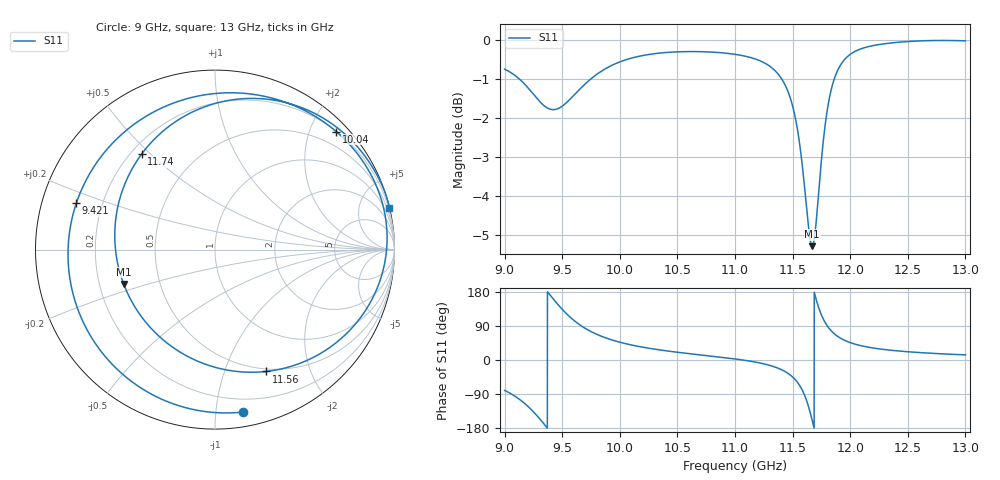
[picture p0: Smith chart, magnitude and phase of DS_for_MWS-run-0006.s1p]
! TOUCHSTONE file generated by CST DESIGN STUDIO
! Date and time: Tue Feb  4 16:41:38 2025
! Project name: C:\Work\MatlabApps\UnitCellOptimizationMatlab\CST\unitcell.cst
! Tree item: Tasks\Sweep1\SPara1\S-Parameters
! Header version: 2024
! Port assignment regex: !\s*Touchstone port\s*([0-9]+)\s*=\s*(CST MWS port|CST DES external port|CST DES block port)\s*(.+)\s* \(\"(.*)\"\)(\s*mode\s*([0-9]+))?.*
! Touchstone port assignment:
! Touchstone port 1 = CST DES external port 1 ("")
# GHz S MA R 50
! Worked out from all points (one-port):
!   4001 points, 9 GHz to 13 GHz, reference 50 ohm
!   lowest |S11| = -5.3 dB at 11.67 GHz (marker M1), VSWR 3.38, Z = 15.2 - j8.31 ohm
!   |S11| at or under -10 dB: nowhere
!   S11 on the Smith chart (normalised r, x): 9 GHz: 0.10, -1.18; 9.421 GHz: 0.10, +0.16; 10.04 GHz: 0.21, +2.45; 11.56 GHz: 0.47, -1.40; 11.74 GHz: 0.24, +0.47; 13 GHz: 0.04, +8.42
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9  0.9185 -80.2
9.118  0.8948 -101.4
9.211  0.8664 -124.8
9.325  0.8287 -162.5
9.421  0.8147 161.5
9.5  0.8232 133.7
9.582  0.8444 109.5
9.677  0.8728 87.8
9.826  0.9101 64.4
10  0.9385 46.9
10.035  0.9426 44.2
10.5  0.9669 20.4
11  0.9598 2.8
11.335  0.9182 -17.3
11.429  0.88 -29.5
11.5  0.8236 -44.9
11.561  0.7365 -67.2
11.618  0.6152 -104.0
11.67  0.5438 -159.3
11.703  0.5806 161.7
11.739  0.6716 127.4
11.778  0.7688 101.3
11.823  0.8484 81.2
11.901  0.9214 60.4
12  0.9596 45.9
12.187  0.9841 32.3
12.5  0.9968 21.8
13  0.9989 13.5
